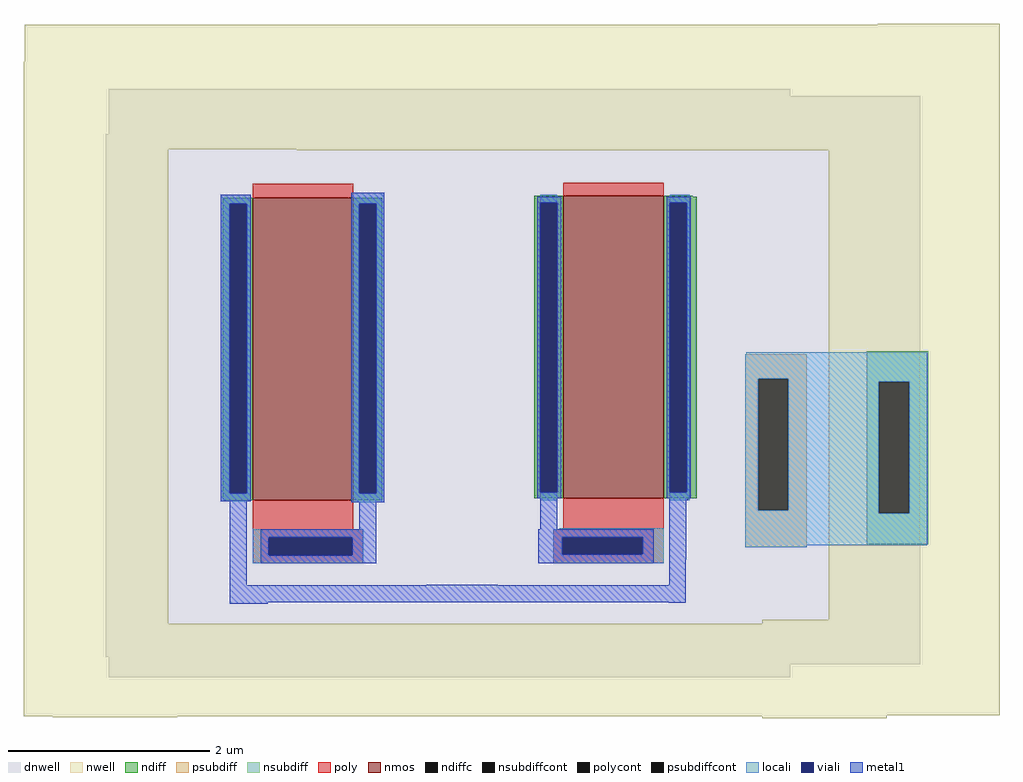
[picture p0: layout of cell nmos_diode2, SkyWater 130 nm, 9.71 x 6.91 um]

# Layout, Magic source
magic
tech sky130A
magscale 1 2
<< dnwell >>
rect 124 38 1480 52
rect 124 -38 1738 38
rect 118 -1078 1738 -38
rect 124 -1092 1738 -1078
rect 124 -1118 1480 -1092
<< nwell >>
rect 1654 180 1896 182
rect -44 106 1896 180
rect -46 -68 1896 106
rect -46 -1012 242 -68
rect 498 -70 1896 -68
rect 1556 -1004 1896 -70
rect 1424 -1012 1896 -1004
rect -46 -1194 1896 -1012
rect -46 -1196 1672 -1194
rect 12 -1198 260 -1196
rect 1424 -1200 1672 -1196
<< nmos >>
rect 410 -766 610 -164
rect 1028 -762 1228 -160
<< ndiff >>
rect 350 -176 410 -164
rect 350 -752 364 -176
rect 398 -752 410 -176
rect 350 -764 410 -752
rect 352 -766 410 -764
rect 610 -176 668 -164
rect 610 -752 622 -176
rect 656 -752 668 -176
rect 610 -766 668 -752
rect 970 -174 1028 -160
rect 970 -750 982 -174
rect 1016 -750 1028 -174
rect 970 -762 1028 -750
rect 1228 -162 1286 -160
rect 1228 -174 1294 -162
rect 1228 -750 1240 -174
rect 1274 -750 1294 -174
rect 1228 -762 1294 -750
<< ndiffc >>
rect 364 -752 398 -176
rect 622 -752 656 -176
rect 982 -750 1016 -174
rect 1240 -750 1274 -174
<< psubdiff >>
rect 1390 -524 1512 -476
rect 1390 -786 1416 -524
rect 1476 -786 1512 -524
rect 1390 -860 1512 -786
<< nsubdiff >>
rect 1632 -530 1754 -470
rect 1632 -792 1656 -530
rect 1716 -792 1754 -530
rect 1632 -854 1754 -792
<< psubdiffcont >>
rect 1416 -786 1476 -524
<< nsubdiffcont >>
rect 1656 -792 1716 -530
<< poly >>
rect 410 -164 610 -136
rect 1028 -160 1228 -134
rect 410 -824 610 -766
rect 1028 -822 1228 -762
rect 1020 -824 1228 -822
rect 410 -840 630 -824
rect 410 -876 442 -840
rect 608 -876 630 -840
rect 410 -892 630 -876
rect 1008 -840 1228 -824
rect 1008 -874 1026 -840
rect 1186 -874 1228 -840
rect 1008 -892 1228 -874
<< polycont >>
rect 442 -876 608 -840
rect 1026 -874 1186 -840
<< locali >>
rect 346 -176 406 -158
rect 346 -752 364 -176
rect 398 -752 406 -176
rect 346 -768 406 -752
rect 606 -176 672 -154
rect 606 -752 622 -176
rect 656 -752 672 -176
rect 606 -770 672 -752
rect 982 -174 1016 -158
rect 982 -766 1016 -750
rect 1240 -174 1280 -158
rect 1274 -750 1280 -174
rect 1392 -476 1752 -472
rect 1240 -766 1280 -750
rect 1390 -524 1752 -476
rect 1390 -786 1416 -524
rect 1476 -530 1752 -524
rect 1476 -786 1656 -530
rect 1390 -792 1656 -786
rect 1716 -792 1752 -530
rect 1020 -824 1228 -822
rect 410 -840 630 -824
rect 410 -876 442 -840
rect 608 -876 630 -840
rect 410 -892 630 -876
rect 1008 -840 1228 -824
rect 1008 -874 1026 -840
rect 1186 -874 1228 -840
rect 1390 -856 1752 -792
rect 1390 -860 1512 -856
rect 1008 -892 1228 -874
<< viali >>
rect 364 -752 398 -176
rect 622 -752 656 -176
rect 982 -750 1016 -174
rect 1240 -750 1274 -174
rect 442 -876 608 -840
rect 1026 -874 1186 -840
<< metal1 >>
rect 346 -176 406 -158
rect 346 -752 364 -176
rect 398 -752 406 -176
rect 346 -768 406 -752
rect 606 -176 672 -154
rect 606 -752 622 -176
rect 656 -752 672 -176
rect 364 -935 398 -768
rect 606 -770 672 -752
rect 976 -174 1024 -162
rect 976 -750 982 -174
rect 1016 -750 1024 -174
rect 976 -762 1024 -750
rect 1234 -174 1282 -162
rect 1234 -750 1240 -174
rect 1274 -750 1282 -174
rect 1234 -762 1282 -750
rect 622 -824 656 -770
rect 982 -824 1016 -762
rect 1239 -766 1277 -762
rect 426 -840 656 -824
rect 426 -876 442 -840
rect 608 -876 656 -840
rect 426 -892 656 -876
rect 978 -840 1208 -824
rect 978 -874 1026 -840
rect 1186 -874 1208 -840
rect 978 -892 1208 -874
rect 1239 -884 1273 -766
rect 1239 -934 1272 -884
rect 756 -935 898 -934
rect 1238 -935 1272 -934
rect 364 -969 1272 -935
rect 364 -972 440 -969
rect 1238 -970 1272 -969
<< end >>
